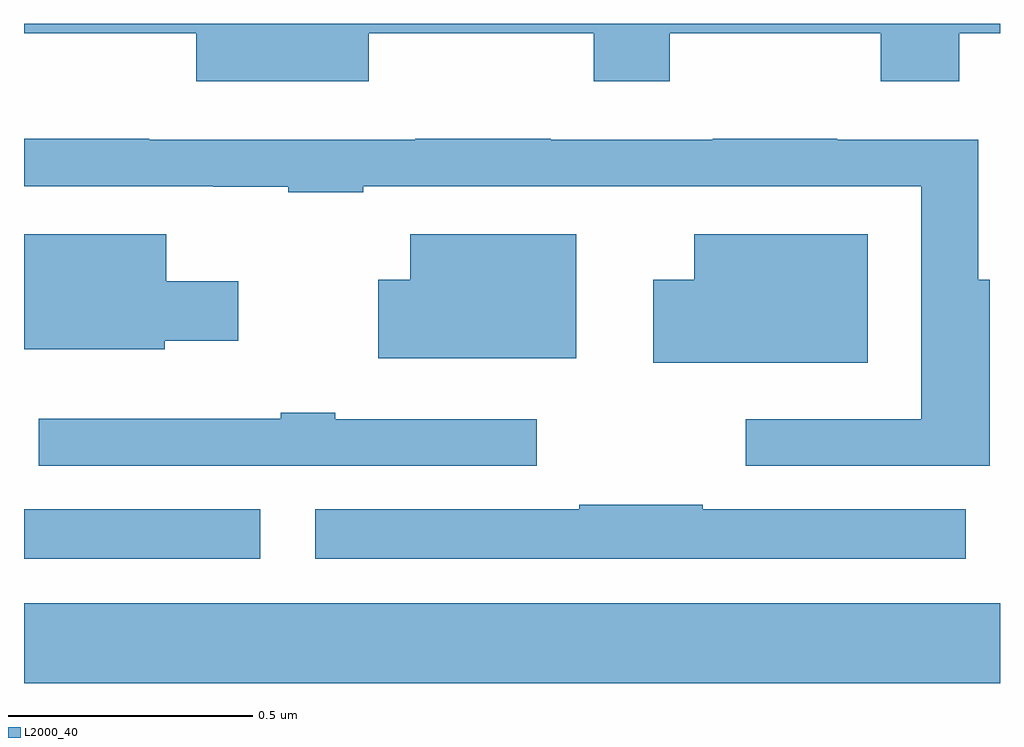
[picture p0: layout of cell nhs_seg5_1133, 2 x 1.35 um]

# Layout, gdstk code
import gdstk
lib = gdstk.Library(unit=1e-6, precision=1e-09)
def R(c, l, rs):  # rectangles x0, y0, x1, y1
    for r in rs: c.add(gdstk.rectangle(r[:2], r[2:], *l))
def P(c, l, *ps):  # polygons
    for p in ps: c.add(gdstk.Polygon(p, *l))
L2000_40 = (2000, 40)

nhs_seg5_1133 = lib.new_cell('nhs_seg5_1133')
R(nhs_seg5_1133, L2000_40, [(126,835.448,128,835.612), (126,835.703,126.484,835.804)])
P(nhs_seg5_1133, L2000_40, [(126.706,836.78),(127.168,836.78),(127.168,836.681),(127.323,836.681),(127.323,836.78),(127.756,836.78),(127.756,836.681),(127.916,836.681),(127.916,836.78),(128,836.78),(128,836.799),(126,836.799),(126,836.78),(126.353,836.78),(126.353,836.681),(126.706,836.681)],
  [(127.979,836.275),(127.955,836.275),(127.955,836.562),(127.667,836.562),(127.667,836.564),(127.411,836.564),(127.411,836.562),(127.079,836.562),(127.079,836.564),(126.802,836.564),(126.802,836.562),(126.257,836.562),(126.257,836.564),(126.001,836.564),(126.001,836.562),(126,836.562),(126,836.466),(126.388,836.466),(126.388,836.465),(126.542,836.465),(126.542,836.454),(126.695,836.454),(126.695,836.466),(127.839,836.466),(127.839,835.989),(127.479,835.989),(127.479,835.893),(127.979,835.893)],
  [(127.132,836.368),(126.791,836.368),(126.791,836.275),(126.726,836.275),(126.726,836.114),(127.132,836.114)],
  [(126.288,836.15),(126.439,836.15),(126.439,836.272),(126.292,836.272),(126.292,836.368),(126,836.368),(126,836.132),(126.288,836.132)],
  [(127.729,836.368),(127.373,836.368),(127.373,836.275),(127.289,836.275),(127.289,836.105),(127.729,836.105)],
  [(127.051,835.989),(126.638,835.989),(126.638,836.002),(126.526,836.002),(126.526,835.99),(126.03,835.99),(126.03,835.893),(127.051,835.893)],
  [(127.93,835.804),(127.391,835.804),(127.391,835.814),(127.138,835.814),(127.138,835.804),(126.597,835.804),(126.597,835.703),(127.93,835.703)])

lib.write_gds('nhs_seg5_1133.gds')
